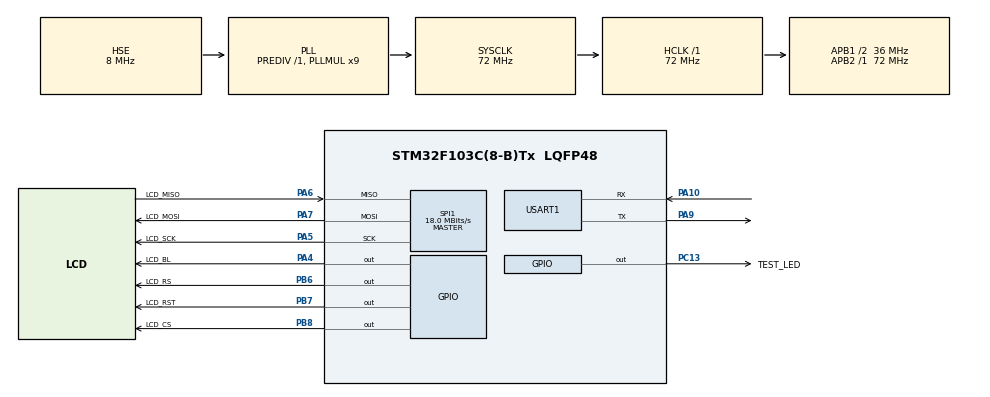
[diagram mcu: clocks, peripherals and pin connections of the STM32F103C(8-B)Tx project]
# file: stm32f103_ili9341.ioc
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Dma.Request0=SPI1_TX
Dma.SPI1_TX.0.Direction=DMA_MEMORY_TO_PERIPH
Dma.SPI1_TX.0.Instance=DMA1_Channel3
Dma.SPI1_TX.0.MemDataAlignment=DMA_MDATAALIGN_BYTE
Dma.SPI1_TX.0.MemInc=DMA_MINC_ENABLE
Dma.SPI1_TX.0.Mode=DMA_NORMAL
Dma.SPI1_TX.0.PeriphDataAlignment=DMA_PDATAALIGN_BYTE
Dma.SPI1_TX.0.PeriphInc=DMA_PINC_DISABLE
Dma.SPI1_TX.0.Priority=DMA_PRIORITY_LOW
Mcu.Family=STM32F1
Mcu.Name=STM32F103C(8-B)Tx
Mcu.Package=LQFP48
NVIC.DMA1_Channel3_IRQn=true\:0\:0\:false\:true\:true\:1\:false\:true\:true
NVIC.PriorityGroup=NVIC_PRIORITYGROUP_4
NVIC.SPI1_IRQn=true\:0\:0\:false\:true\:true\:2\:true\:true\:true
NVIC.USART1_IRQn=true\:0\:0\:false\:false\:true\:true\:true\:true
PA10.Mode=Asynchronous
PA10.Signal=USART1_RX
PA13.Mode=JTAG_4_pins
PA13.Signal=SYS_JTMS-SWDIO
PA14.Mode=JTAG_4_pins
PA14.Signal=SYS_JTCK-SWCLK
PA15.Mode=JTAG_4_pins
PA15.Signal=SYS_JTDI
PA4.GPIO_Label=LCD_BL
PA4.Signal=GPIO_Output
PA5.GPIO_Label=LCD_SCK
PA5.GPIO_Speed=GPIO_SPEED_FREQ_HIGH
PA5.Mode=Full_Duplex_Master
PA5.Signal=SPI1_SCK
PA6.GPIO_Label=LCD_MISO
PA6.Mode=Full_Duplex_Master
PA6.Signal=SPI1_MISO
PA7.GPIO_Label=LCD_MOSI
PA7.Mode=Full_Duplex_Master
PA7.Signal=SPI1_MOSI
PA9.Mode=Asynchronous
PA9.Signal=USART1_TX
PB3.Mode=JTAG_4_pins
PB3.Signal=SYS_JTDO-TRACESWO
PB6.GPIO_Label=LCD_RS
PB6.GPIO_Speed=GPIO_SPEED_FREQ_HIGH
PB6.Signal=GPIO_Output
PB7.GPIO_Label=LCD_RST
PB7.PinState=GPIO_PIN_SET
PB7.Signal=GPIO_Output
PB8.GPIO_Label=LCD_CS
PB8.GPIO_Speed=GPIO_SPEED_FREQ_HIGH
PB8.PinState=GPIO_PIN_SET
PB8.Signal=GPIO_Output
PC13-TAMPER-RTC.GPIO_Label=TEST_LED
PC13-TAMPER-RTC.Signal=GPIO_Output
PD0-OSC_IN.Mode=HSE-External-Oscillator
PD0-OSC_IN.Signal=RCC_OSC_IN
PD1-OSC_OUT.Mode=HSE-External-Oscillator
PD1-OSC_OUT.Signal=RCC_OSC_OUT
ProjectManager.HeapSize=0x200
ProjectManager.StackSize=0x400
ProjectManager.TargetToolchain=Makefile
RCC.AHBFreq_Value=72000000
RCC.APB1CLKDivider=RCC_HCLK_DIV2
RCC.APB1Freq_Value=36000000
RCC.APB1TimFreq_Value=72000000
RCC.APB2Freq_Value=72000000
RCC.APB2TimFreq_Value=72000000
RCC.HCLKFreq_Value=72000000
RCC.PLLMUL=RCC_PLL_MUL9
RCC.PLLSourceVirtual=RCC_PLLSOURCE_HSE
RCC.SYSCLKFreq_VALUE=72000000
RCC.SYSCLKSource=RCC_SYSCLKSOURCE_PLLCLK
RCC.USBFreq_Value=72000000
SPI1.BaudRatePrescaler=SPI_BAUDRATEPRESCALER_4
SPI1.CalculateBaudRate=18.0 MBits/s
SPI1.Direction=SPI_DIRECTION_2LINES
SPI1.Mode=SPI_MODE_MASTER
SPI1.VirtualType=VM_MASTER
USART1.VirtualMode=VM_ASYNC
board=custom

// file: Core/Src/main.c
/* USER CODE BEGIN Header */
/**
  ******************************************************************************
  * @file           : main.c
  * @brief          : Main program body
  ******************************************************************************
  * @attention
  *
  * Copyright (c) 2023 STMicroelectronics.
  * All rights reserved.
  *
  * This software is licensed under terms that can be found in the LICENSE file
  * in the root directory of this software component.
  * If no LICENSE file comes with this software, it is provided AS-IS.
  *
  ******************************************************************************
  */
/* USER CODE END Header */
#include "main.h"
#include "dma.h"
#include "spi.h"
#include "usart.h"
#include "gpio.h"

/* USER CODE BEGIN Includes */
#include<stdio.h>
/* USER CODE END Includes */

void SystemClock_Config(void);
static void MX_NVIC_Init(void);
/* USER CODE BEGIN PFP */
/*# 7- Retarget printf to UART (std library and toolchain dependent) #########*/

#if defined(__GNUC__)
int _write(int fd, char * ptr, int len)
{
  HAL_UART_Transmit(&huart1, (uint8_t *) ptr, len, HAL_MAX_DELAY);
  return len;
}
#elif defined (__ICCARM__)
#include "LowLevelIOInterface.h"
size_t __write(int handle, const unsigned char * buffer, size_t size)
{
  HAL_UART_Transmit(&huart1, (uint8_t *) buffer, size, HAL_MAX_DELAY);
  return size;
}
#elif defined (__CC_ARM)
int fputc(int ch, FILE *f)
{
    HAL_UART_Transmit(&huart1, (uint8_t *)&ch, 1, HAL_MAX_DELAY);
    return ch;
}
#endif

// OR:

// Add syscalls.c with GCC

#ifdef __GNUC__
#define PUTCHAR_PROTOTYPE int __io_putchar(int ch)
#else
#define PUTCHAR_PROTOTYPE int fputc(int ch, FILE *f)
#endif /* __GNUC__ */

/**
  * @brief  Retargets the C library printf function to the USART.
  * @param  None
  * @retval None
  */
PUTCHAR_PROTOTYPE
{
  HAL_UART_Transmit(&huart1, (uint8_t *)&ch, 1, HAL_MAX_DELAY);
  return ch;
}
/* USER CODE END PFP */

int main(void)
{

  /* MCU Configuration--------------------------------------------------------*/

  /* Reset of all peripherals, Initializes the Flash interface and the Systick. */
  HAL_Init();

  /* Configure the system clock */
  SystemClock_Config();

  /* Initialize all configured peripherals */
  MX_GPIO_Init();
  MX_DMA_Init();
  MX_SPI1_Init();
  MX_USART1_UART_Init();

  /* Initialize interrupts */
  MX_NVIC_Init();
  /* USER CODE BEGIN 2 */

  printf("Usart_SendString: hello world! start mainAPP!\n");

  // enable lcd background light
  HAL_GPIO_WritePin(LCD_BL_GPIO_Port, LCD_BL_Pin, GPIO_PIN_SET);
  mainApp();
  // disable lcd background light
  HAL_GPIO_WritePin(LCD_BL_GPIO_Port, LCD_BL_Pin, GPIO_PIN_RESET);

  /* USER CODE END 2 */

  /* Infinite loop */
  while (1)
  {

    /* USER CODE BEGIN 3 */
      // 切换 LED 引脚的状态，原来是 1 就改成 0，原来是 0 就改成 1
    HAL_GPIO_TogglePin(TEST_LED_GPIO_Port, TEST_LED_Pin);
    HAL_Delay(1000);
    printf("Usart_SendString: HAL_GPIO_TogglePin!\n");

  }
  /* USER CODE END 3 */
}

void SystemClock_Config(void)
{
  RCC_OscInitTypeDef RCC_OscInitStruct = {0};
  RCC_ClkInitTypeDef RCC_ClkInitStruct = {0};

  /** Initializes the RCC Oscillators according to the specified parameters
  * in the RCC_OscInitTypeDef structure.
  */
  RCC_OscInitStruct.OscillatorType = RCC_OSCILLATORTYPE_HSE;
  RCC_OscInitStruct.HSEState = RCC_HSE_ON;
  RCC_OscInitStruct.HSEPredivValue = RCC_HSE_PREDIV_DIV1;
  RCC_OscInitStruct.HSIState = RCC_HSI_ON;
  RCC_OscInitStruct.PLL.PLLState = RCC_PLL_ON;
  RCC_OscInitStruct.PLL.PLLSource = RCC_PLLSOURCE_HSE;
  RCC_OscInitStruct.PLL.PLLMUL = RCC_PLL_MUL9;
  if (HAL_RCC_OscConfig(&RCC_OscInitStruct) != HAL_OK)
  {
    Error_Handler();
  }

  /** Initializes the CPU, AHB and APB buses clocks
  */
  RCC_ClkInitStruct.ClockType = RCC_CLOCKTYPE_HCLK|RCC_CLOCKTYPE_SYSCLK
                              |RCC_CLOCKTYPE_PCLK1|RCC_CLOCKTYPE_PCLK2;
  RCC_ClkInitStruct.SYSCLKSource = RCC_SYSCLKSOURCE_PLLCLK;
  RCC_ClkInitStruct.AHBCLKDivider = RCC_SYSCLK_DIV1;
  RCC_ClkInitStruct.APB1CLKDivider = RCC_HCLK_DIV2;
  RCC_ClkInitStruct.APB2CLKDivider = RCC_HCLK_DIV1;

  if (HAL_RCC_ClockConfig(&RCC_ClkInitStruct, FLASH_LATENCY_2) != HAL_OK)
  {
    Error_Handler();
  }
}

/**
  * @brief NVIC Configuration.
  * @retval None
  */
static void MX_NVIC_Init(void)
{
  /* DMA1_Channel3_IRQn interrupt configuration */
  HAL_NVIC_SetPriority(DMA1_Channel3_IRQn, 0, 0);
  HAL_NVIC_EnableIRQ(DMA1_Channel3_IRQn);
  /* SPI1_IRQn interrupt configuration */
  HAL_NVIC_SetPriority(SPI1_IRQn, 0, 0);
  HAL_NVIC_EnableIRQ(SPI1_IRQn);
}

void Error_Handler(void)
{
  __disable_irq();
  while (1)
  {
  }
}
